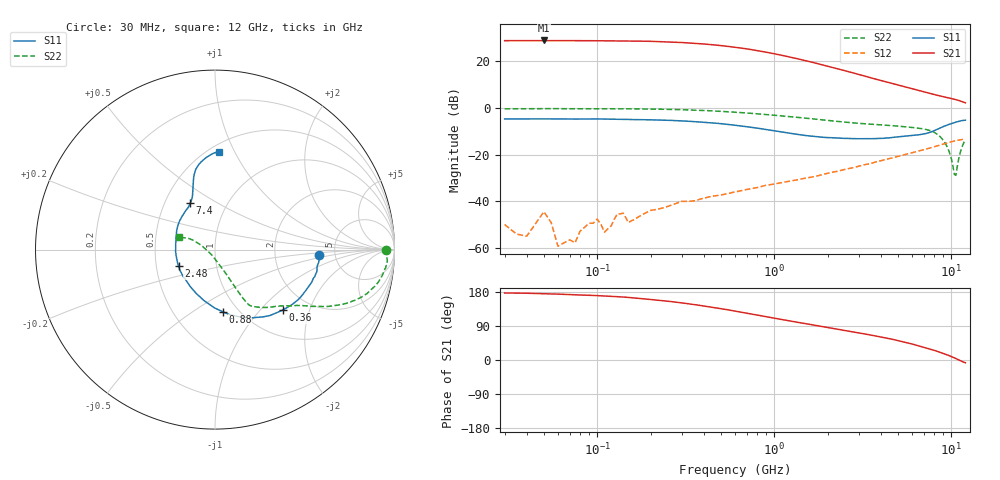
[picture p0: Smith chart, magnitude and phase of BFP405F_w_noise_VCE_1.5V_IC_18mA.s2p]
! Infineon Technologies  Discrete & RF Semiconductors
! BFP405F
! VCE =  1.5 V,  IC =  18 mA
! Common Emitter S-Parameters:  Nov 2015
# GHz  S  MA  R  50
!  f  S11  S21  S12  S22
! GHz  MAG  ANG  MAG  ANG  MAG  ANG  MAG  ANG
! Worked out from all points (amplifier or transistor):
!   239 points, 30 MHz to 12 GHz, reference 50 ohm
!   highest |S21| = 28.9 dB at 50 MHz (marker M1)
!   |S21| within 3 dB of that: start of sweep to 612.6 MHz
!   unconditionally stable (mu >= 1): 1.561 GHz to end of sweep
!   at 300 MHz: K = 0.25, MSG = 34.0 dB, |S12| = -40.0 dB
!   at 1.88 GHz: K = 1.10, MAG = 21.5 dB, |S12| = -28.4 dB
!   at 12 GHz: K = 1.41, MAG = 3.9 dB, |S12| = -13.3 dB
!   lowest NFmin = 2.14 dB at 450 MHz
!   S11 on the Smith chart (normalised r, x): 30 MHz: 3.72, -0.36; 360 MHz: 1.49, -1.35; 880 MHz: 0.85, -0.67; 2.48 GHz: 0.65, -0.13; 7.4 GHz: 0.67, +0.38; 12 GHz: 0.56, +0.87
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0.03  0.5799 -3.2  27.43 176.9  0.0032 130.5  0.9543 -0.3
0.04  0.5832 -5.1  27.51 176.2  0.0018 51.2  0.9613 -1.0
0.05  0.5821 -6.3  27.71 174.7  0.006 121.5  0.967 -1.1
0.06  0.5827 -6.8  27.5 173.9  0.0011 110.3  0.9607 -2.0
0.085  0.5781 -10.6  27.38 171.2  0.0028 40.7  0.9609 -3.3
0.15  0.5684 -18.6  27.03 165.1  0.0035 85.4  0.9527 -6.5
0.2  0.5551 -24.3  26.57 159.7  0.0064 67.8  0.943 -8.8
0.24  0.5456 -29.0  25.89 156.1  0.0074 84.3  0.9332 -10.5
0.3  0.5277 -35.4  25.03 150.6  0.01 84.1  0.9142 -12.9
0.36  0.5061 -41.6  23.96 145.7  0.0104 75.2  0.8935 -14.8
0.45  0.4775 -50.4  22.42 138.7  0.013 75.8  0.861 -17.7
0.6  0.4262 -63.4  19.82 128.9  0.0159 68.5  0.8088 -21.2
0.7  0.3955 -70.8  18.29 123.4  0.018 68.7  0.7772 -23.0
0.88  0.3486 -83.0  15.79 115.1  0.0217 67.5  0.7258 -25.6
1.2  0.2905 -102.2  12.45 103.8  0.0267 67.8  0.6538 -28.9
1.64  0.2474 -123.9  9.45 92.9  0.0333 67.5  0.5838 -32.4
2.48  0.2229 -155.7  6.305 78.3  0.0479 66.4  0.4979 -39.1
4.5  0.2297 159.9  3.417 56.0  0.0831 60.4  0.4214 -50.1
7.4  0.2925 118.1  2.078 30.1  0.135 48.2  0.3368 -59.5
9.2  0.4116 106.9  1.701 15.7  0.1717 38.9  0.1787 -63.6
10.6  0.4949 99.0  1.5 3.8  0.1992 30.0  0.0362 -156.7
12  0.5451 87.9  1.284 -7.3  0.2171 22.0  0.21 160.6
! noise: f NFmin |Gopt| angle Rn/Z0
0.45  2.14  0.04  -3  0.51
0.9  2.16  0.03  -6  0.3
1.5  2.2  0.02  -39  0.2
1.9  2.26  0.02  -85  0.26
2.4  2.41  0.02  -104  0.39
3  2.5  0.04  -109  0.06
3.5  2.58  0.06  -113  0.22
4.5  2.8  0.12  -102  0.4
5.5  3.09  0.21  -88  0.41
